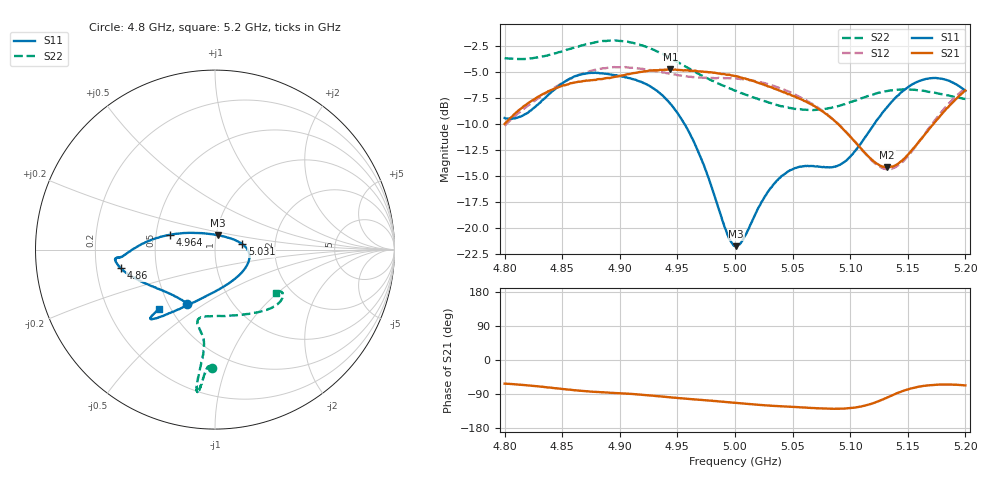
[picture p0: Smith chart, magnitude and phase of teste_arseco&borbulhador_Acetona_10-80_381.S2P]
! Network Analyzer HP8722D
! Hewlett-Packard
! Data name: Linha & Wilkinson
! Saver's name: Rodrigo Anjos
! Comments: Teste da utilização de aquisição
! continua pelo VNA HP8722D
! Time and date: 17/4/2025 17:32
!  Frequency  S11  S21  S12  S22
# HZ  S  MA R 50
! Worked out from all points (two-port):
!   401 points, 4.8 GHz to 5.2 GHz, reference 50 ohm
!   highest |S21| = -4.72 dB at 4.944 GHz (marker M1); lowest = -14.2 dB at 5.132 GHz (marker M2)
!   |S21| within 3 dB of the highest: 4.824 GHz to 5.059 GHz (235.5 MHz wide, 4.77 % of centre); 5.190646 GHz to end of sweep
!   lowest |S11| = -21.8 dB at 5.001 GHz (marker M3), VSWR 1.18, Z = 50.8 + j8.22 ohm
!   |S11| at or under -10 dB: 4.956 GHz to 5.121 GHz (164.7 MHz wide, 3.27 % of centre)
!   |S22| runs from -8.6 to -1.9 dB; largest |S21 - S12| = 0.87
!   S11 on the Smith chart (normalised r, x): 4.8 GHz: 0.62, -0.42; 4.86 GHz: 0.31, -0.09; 4.964 GHz: 0.59, +0.11; 5.031 GHz: 1.36, +0.08; 5.2 GHz: 0.43, -0.36
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4.8e9  0.3384 -117.2  0.3169 -62.4  0.311 -176.6  0.6583 -91.5
4.818e9  0.3533 -136.3  0.39 -66.5  0.3799 -176.3  0.6519 -93.0
4.86e9  0.5349 -168.7  0.501 -79.6  0.5322 -179.7  0.7372 -95.6
4.867e9  0.5499 -171.4  0.5079 -81.5  0.552 179.0  0.7571 -95.9
4.898e9  0.5421 -175.3  0.5361 -87.4  0.5944 173.3  0.7985 -97.1
4.934e9  0.4498 179.1  0.5751 -95.9  0.5664 169.8  0.7008 -97.4
4.944e9  0.3958 174.7  0.5807 -98.5  0.5521 170.0  0.6584 -97.0
4.964e9  0.2621 161.5  0.5706 -103.8  0.5328 171.9  0.5695 -96.5
4.993e9  0.09441 111.5  0.5472 -111.0  0.5269 173.9  0.4766 -98.8
5e9  0.08227 83.8  0.5393 -113.2  0.5255 174.1  0.4584 -100.2
5.001e9  0.0817 79.4  0.5382 -113.2  0.525 174.1  0.4574 -100.5
5.008e9  0.09042 53.0  0.5255 -115.4  0.5204 173.9  0.4415 -101.8
5.031e9  0.1558 11.0  0.477 -120.6  0.4885 173.0  0.3994 -103.6
5.048e9  0.1899 -5.0  0.4393 -123.3  0.4503 172.3  0.3784 -99.0
5.067e9  0.1987 -25.3  0.3922 -126.6  0.3962 172.0  0.37 -88.3
5.096e9  0.2103 -75.6  0.2908 -128.1  0.2919 174.9  0.3964 -65.8
5.119e9  0.3058 -110.1  0.2125 -114.8  0.2105 -170.1  0.4382 -50.6
5.132e9  0.3823 -120.5  0.1958 -99.2  0.192 -152.5  0.4558 -44.2
5.134e9  0.3932 -121.8  0.1961 -96.4  0.1918 -149.5  0.4585 -43.3
5.148e9  0.4676 -128.0  0.2188 -79.5  0.2153 -129.8  0.4648 -38.2
5.168e9  0.5247 -132.4  0.2968 -66.9  0.3005 -113.1  0.4523 -33.6
5.2e9  0.4573 -133.4  0.4594 -67.1  0.4702 -109.1  0.4179 -35.1
